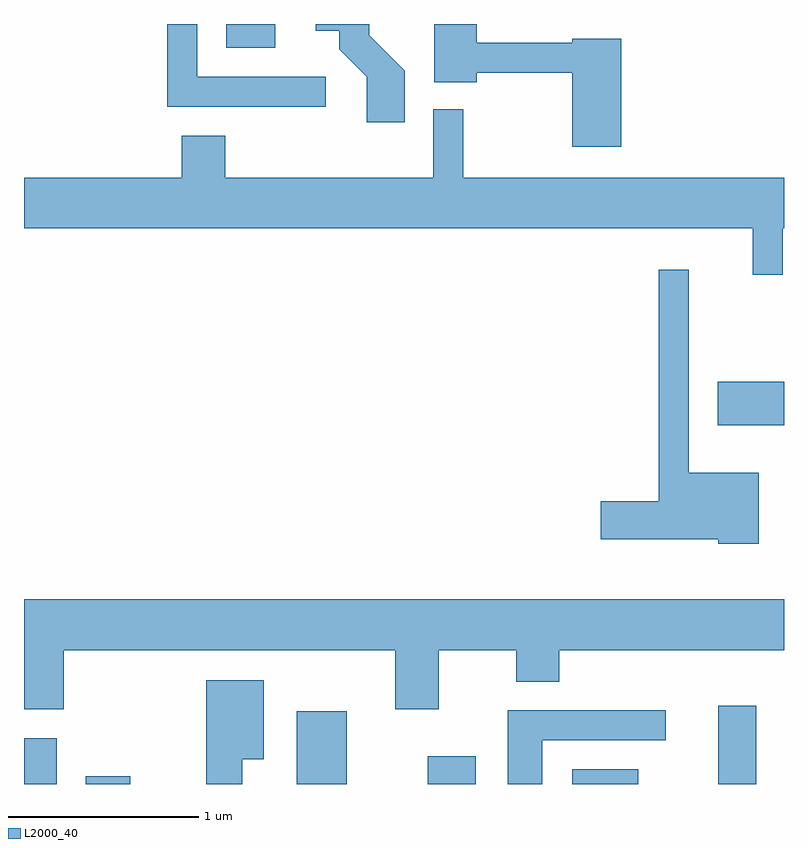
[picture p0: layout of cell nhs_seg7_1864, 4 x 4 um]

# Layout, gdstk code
import gdstk
lib = gdstk.Library(unit=1e-6, precision=1e-09)
def R(c, l, rs):  # rectangles x0, y0, x1, y1
    for r in rs: c.add(gdstk.rectangle(r[:2], r[2:], *l))
def P(c, l, *ps):  # polygons
    for p in ps: c.add(gdstk.Polygon(p, *l))
L2000_40 = (2000, 40)

nhs_seg7_1864 = lib.new_cell('nhs_seg7_1864')
R(nhs_seg7_1864, L2000_40, [(241.611,1740.252,241.784,1740.494), (241.936,1740.252,242.169,1740.294), (243.046,1740.252,243.309,1740.634), (243.736,1740.252,243.989,1740.399), (244.496,1740.252,244.844,1740.329), (245.266,1740.252,245.464,1740.664), (245.261,1742.141,245.611,1742.369), (242.676,1744.126,242.934,1744.252)])
P(nhs_seg7_1864, L2000_40, [(244.754,1744.174),(244.496,1744.174),(244.496,1744.154),(243.994,1744.154),(243.994,1744.252),(243.771,1744.252),(243.771,1743.946),(243.994,1743.946),(243.994,1743.996),(244.496,1743.996),(244.496,1743.606),(244.754,1743.606)],
  [(243.614,1744.007),(243.429,1744.192),(243.429,1744.252),(243.146,1744.252),(243.146,1744.216),(243.271,1744.216),(243.271,1744.119),(243.416,1743.974),(243.416,1743.736),(243.614,1743.736)],
  [(243.198,1743.974),(242.524,1743.974),(242.524,1744.252),(242.366,1744.252),(242.366,1743.816),(243.198,1743.816)],
  [(245.604,1743.176),(245.611,1743.176),(245.611,1743.444),(243.924,1743.444),(243.924,1743.803),(243.766,1743.803),(243.766,1743.444),(242.669,1743.444),(242.669,1743.664),(242.441,1743.664),(242.441,1743.444),(241.611,1743.444),(241.611,1743.176),(245.446,1743.176),(245.446,1742.933),(245.604,1742.933)],
  [(245.479,1741.889),(245.109,1741.889),(245.109,1742.958),(244.951,1742.958),(244.951,1741.739),(244.646,1741.739),(244.646,1741.541),(245.266,1741.541),(245.266,1741.516),(245.479,1741.516)],
  [(241.819,1740.956),(243.566,1740.956),(243.566,1740.646),(243.794,1740.646),(243.794,1740.956),(244.201,1740.956),(244.201,1740.791),(244.429,1740.791),(244.429,1740.956),(245.611,1740.956),(245.611,1741.224),(241.611,1741.224),(241.611,1740.646),(241.819,1740.646)],
  [(242.759,1740.381),(242.874,1740.381),(242.874,1740.799),(242.571,1740.799),(242.571,1740.252),(242.759,1740.252)],
  [(244.339,1740.481),(244.988,1740.481),(244.988,1740.639),(244.156,1740.639),(244.156,1740.252),(244.339,1740.252)])

lib.write_gds('nhs_seg7_1864.gds')
